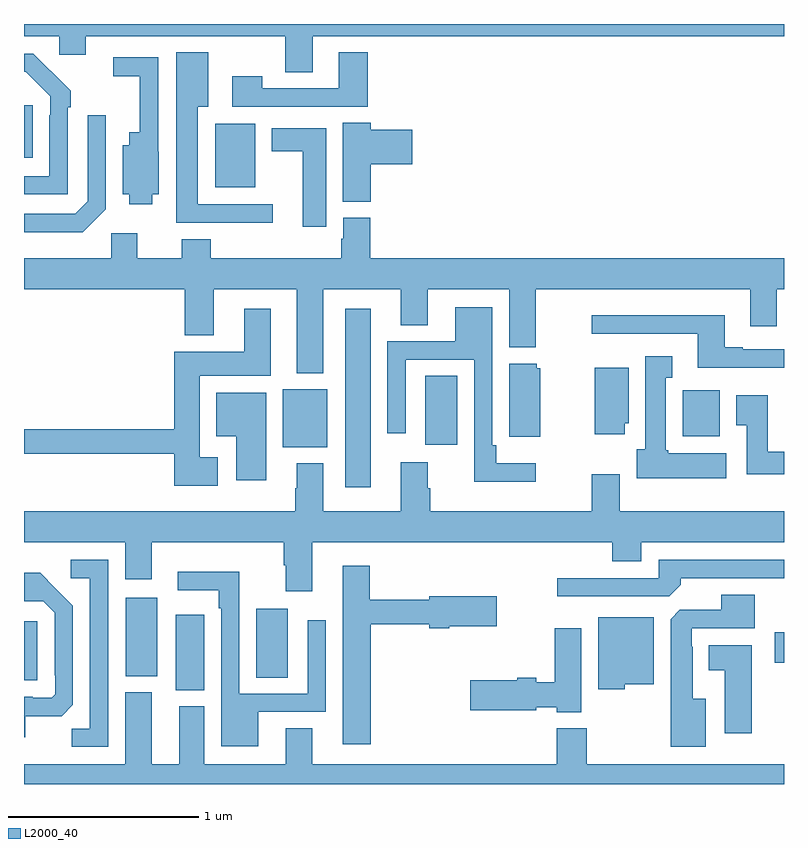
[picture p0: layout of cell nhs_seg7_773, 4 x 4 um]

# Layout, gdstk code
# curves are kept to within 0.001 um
import gdstk
lib = gdstk.Library(unit=1e-6, precision=1e-09)
def R(c, l, rs):  # rectangles x0, y0, x1, y1
    for r in rs: c.add(gdstk.rectangle(r[:2], r[2:], *l))
def P(c, l, *ps):  # polygons
    for p in ps: c.add(gdstk.Polygon(p, *l))
L2000_40 = (2000, 40)

nhs_seg7_773 = lib.new_cell('nhs_seg7_773')
R(nhs_seg7_773, L2000_40, [(169.799,1010.494,169.948,1010.89), (169,1010.547,169.071,1010.857), (170.222,1010.56,170.389,1010.923), (169.535,1010.567,169.702,1010.98), (172.95,1010.638,173,1010.8), (170.69,1011.561,170.824,1012.501), (170.363,1011.773,170.596,1012.078), (171.113,1011.786,171.28,1012.148), (172.466,1011.83,172.663,1012.072), (170.006,1013.141,170.218,1013.476), (169,1013.297,169.045,1013.572)])
P(nhs_seg7_773, L2000_40, [(170.521,1013.936),(173,1013.936),(173,1014),(169,1014),(169,1013.936),(169.185,1013.936),(169.185,1013.838),(169.324,1013.838),(169.324,1013.936),(170.374,1013.936),(170.374,1013.746),(170.521,1013.746)],
  [(170.308,1013.052),(169.915,1013.052),(169.915,1013.564),(169.969,1013.564),(169.969,1013.851),(169.802,1013.851),(169.802,1012.955),(170.308,1012.955)],
  [(170.81,1013.851),(170.657,1013.851),(170.657,1013.661),(170.253,1013.661),(170.253,1013.725),(170.097,1013.725),(170.097,1013.565),(170.81,1013.565)],
  [(169.23,1013.561),(169.245,1013.561),(169.245,1013.649),(169.048,1013.844),(169,1013.844),(169,1013.748),(169.009,1013.748),(169.137,1013.619),(169.137,1013.519),(169.134,1013.519),(169.134,1013.199),(169,1013.199),(169,1013.103),(169.23,1013.103)],
  [(169.675,1013.105),(169.708,1013.105),(169.708,1013.327),(169.707,1013.327),(169.707,1013.826),(169.47,1013.826),(169.47,1013.725),(169.61,1013.725),(169.61,1013.431),(169.553,1013.431),(169.553,1013.362),(169.52,1013.362),(169.52,1013.105),(169.553,1013.105),(169.553,1013.051),(169.675,1013.051)],
  [(169.431,1013.025),(169.431,1013.521),(169.335,1013.521),(169.335,1013.067),(169.269,1013.001),(169,1013.001),(169,1012.904),(169.31,1012.904)],
  [(170.825,1013.261),(171.043,1013.261),(171.043,1013.444),(170.825,1013.444),(170.825,1013.48),(170.678,1013.48),(170.678,1013.065),(170.825,1013.065)],
  [(170.59,1013.452),(170.303,1013.452),(170.303,1013.33),(170.468,1013.33),(170.468,1012.932),(170.59,1012.932)],
  [(170.575,1012.604),(170.984,1012.604),(170.984,1012.414),(171.124,1012.414),(171.124,1012.604),(171.554,1012.604),(171.554,1012.298),(171.693,1012.298),(171.693,1012.604),(172.823,1012.604),(172.823,1012.41),(172.963,1012.41),(172.963,1012.604),(173,1012.604),(173,1012.768),(170.822,1012.768),(170.822,1012.98),(170.681,1012.98),(170.681,1012.869),(170.669,1012.869),(170.669,1012.768),(169.982,1012.768),(169.982,1012.867),(169.829,1012.867),(169.829,1012.768),(169.597,1012.768),(169.597,1012.9),(169.458,1012.9),(169.458,1012.768),(169,1012.768),(169,1012.604),(169.847,1012.604),(169.847,1012.361),(169.999,1012.361),(169.999,1012.604),(170.435,1012.604),(170.435,1012.163),(170.575,1012.163)],
  [(171.694,1011.688),(171.485,1011.688),(171.485,1011.784),(171.465,1011.784),(171.465,1012.51),(171.269,1012.51),(171.269,1012.329),(170.913,1012.329),(170.913,1011.846),(171.009,1011.846),(171.009,1012.233),(171.369,1012.233),(171.369,1011.59),(171.694,1011.59)],
  [(170.02,1011.721),(169.924,1011.721),(169.924,1012.148),(170.299,1012.148),(170.299,1012.501),(170.159,1012.501),(170.159,1012.276),(169.79,1012.276),(169.79,1011.866),(169,1011.866),(169,1011.738),(169.79,1011.738),(169.79,1011.569),(170.02,1011.569)],
  [(173,1012.287),(172.783,1012.287),(172.783,1012.3),(172.687,1012.3),(172.687,1012.468),(171.987,1012.468),(171.987,1012.371),(172.547,1012.371),(172.547,1012.19),(173,1012.19)],
  [(172.696,1011.742),(172.392,1011.742),(172.392,1011.756),(172.378,1011.756),(172.378,1012.139),(172.411,1012.139),(172.411,1012.252),(172.271,1012.252),(172.271,1011.762),(172.226,1011.762),(172.226,1011.608),(172.696,1011.608)],
  [(171.718,1012.188),(171.699,1012.188),(171.699,1012.213),(171.554,1012.213),(171.554,1011.827),(171.718,1011.827)],
  [(172.162,1011.9),(172.183,1011.9),(172.183,1012.192),(172.004,1012.192),(172.004,1011.84),(172.162,1011.84)],
  [(170.275,1012.06),(170.012,1012.06),(170.012,1011.83),(170.117,1011.83),(170.117,1011.6),(170.275,1011.6)],
  [(173,1011.748),(172.915,1011.748),(172.915,1012.045),(172.748,1012.045),(172.748,1011.889),(172.805,1011.889),(172.805,1011.63),(173,1011.63)],
  [(170.518,1011.272),(172.097,1011.272),(172.097,1011.173),(172.249,1011.173),(172.249,1011.272),(173,1011.272),(173,1011.436),(172.135,1011.436),(172.135,1011.631),(171.988,1011.631),(171.988,1011.436),(171.137,1011.436),(171.137,1011.557),(171.124,1011.557),(171.124,1011.694),(170.984,1011.694),(170.984,1011.436),(170.575,1011.436),(170.575,1011.688),(170.435,1011.688),(170.435,1011.557),(170.428,1011.557),(170.428,1011.436),(169,1011.436),(169,1011.272),(169.532,1011.272),(169.532,1011.078),(169.672,1011.078),(169.672,1011.272),(170.366,1011.272),(170.366,1011.152),(170.378,1011.152),(170.378,1011.015),(170.518,1011.015)],
  [(169.443,1011.18),(169.245,1011.18),(169.245,1011.084),(169.347,1011.084),(169.347,1010.291),(169.252,1010.291),(169.252,1010.196),(169.443,1010.196)],
  [(172.457,1011.05),(172.457,1011.084),(173,1011.084),(173,1011.18),(172.341,1011.18),(172.341,1011.084),(171.807,1011.084),(171.807,1010.988),(172.395,1010.988)],
  [(170.825,1010.842),(171.134,1010.842),(171.134,1010.819),(171.238,1010.819),(171.238,1010.831),(171.487,1010.831),(171.487,1010.989),(171.134,1010.989),(171.134,1010.971),(170.82,1010.971),(170.82,1011.148),(170.678,1011.148),(170.678,1010.208),(170.825,1010.208)],
  [(170.233,1010.379),(170.589,1010.379),(170.589,1010.863),(170.493,1010.863),(170.493,1010.475),(170.133,1010.475),(170.133,1011.118),(169.809,1011.118),(169.809,1011.02),(170.025,1011.02),(170.025,1010.924),(170.037,1010.924),(170.037,1010.198),(170.233,1010.198)],
  [(169.006,1010.357),(169.198,1010.357),(169.257,1010.416),(169.257,1010.938),(169.085,1011.112),(169,1011.112),(169,1010.961),(169.101,1010.961),(169.161,1010.901),(169.161,1010.572),(169.164,1010.572),(169.164,1010.472),(169.146,1010.454),(169.046,1010.454),(169.046,1010.458),(169,1010.458),(169,1010.246),(169.006,1010.246)],
  [(172.588,1010.449),(172.519,1010.449),(172.519,1010.723),(172.515,1010.723),(172.515,1010.82),(172.846,1010.82),(172.846,1010.995),(172.67,1010.995),(172.67,1010.916),(172.452,1010.916),(172.403,1010.867),(172.403,1010.195),(172.588,1010.195)],
  [(172.161,1010.525),(172.315,1010.525),(172.315,1010.878),(172.022,1010.878),(172.022,1010.498),(172.161,1010.498)],
  [(171.934,1010.821),(171.793,1010.821),(171.793,1010.535),(171.696,1010.535),(171.696,1010.558),(171.596,1010.558),(171.596,1010.545),(171.348,1010.545),(171.348,1010.387),(171.696,1010.387),(171.696,1010.405),(171.804,1010.405),(171.804,1010.378),(171.934,1010.378)],
  [(172.831,1010.731),(172.604,1010.731),(172.604,1010.6),(172.688,1010.6),(172.688,1010.268),(172.831,1010.268)],
  [(170.518,1010.294),(170.378,1010.294),(170.378,1010.104),(169.948,1010.104),(169.948,1010.409),(169.817,1010.409),(169.817,1010.104),(169.672,1010.104),(169.672,1010.482),(169.532,1010.482),(169.532,1010.104),(169,1010.104),(169,1010),(173,1010),(173,1010.104),(171.963,1010.104),(171.963,1010.293),(171.803,1010.293),(171.803,1010.104),(170.518,1010.104)])

lib.write_gds('nhs_seg7_773.gds')
